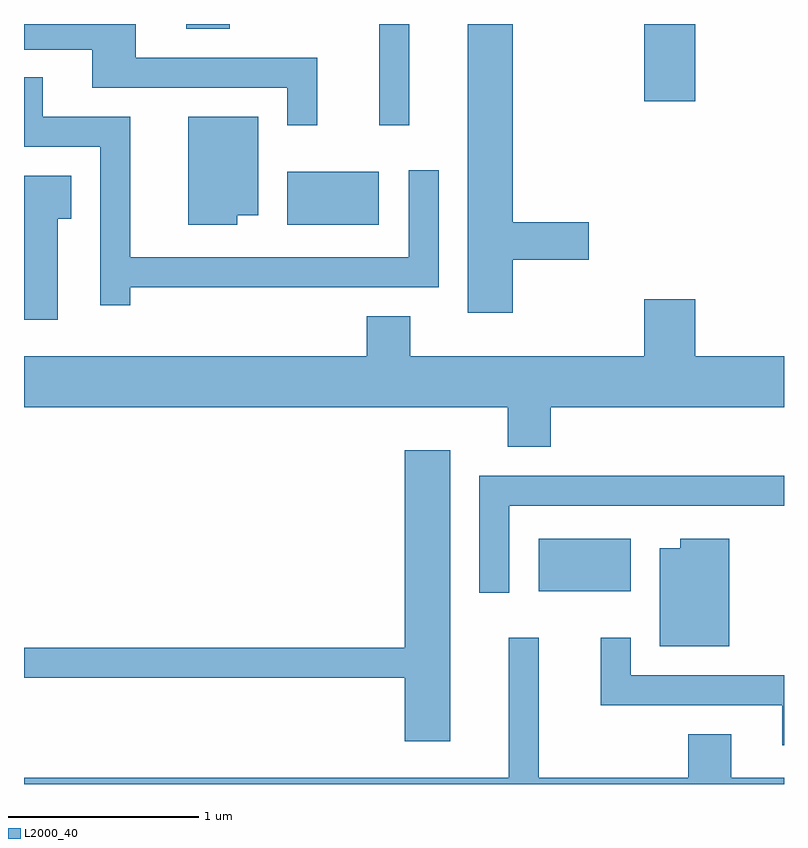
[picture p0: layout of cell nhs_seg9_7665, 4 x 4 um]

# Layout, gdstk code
import gdstk
lib = gdstk.Library(unit=1e-6, precision=1e-09)
def R(c, l, rs):  # rectangles x0, y0, x1, y1
    for r in rs: c.add(gdstk.rectangle(r[:2], r[2:], *l))
def P(c, l, *ps):  # polygons
    for p in ps: c.add(gdstk.Polygon(p, *l))
L2000_40 = (2000, 40)

nhs_seg9_7665 = lib.new_cell('nhs_seg9_7665')
R(nhs_seg9_7665, L2000_40, [(414.321,2057.446,414.804,2057.724), (412.996,2059.376,413.479,2059.654), (413.481,2059.898,413.639,2060.432), (414.876,2060.026,415.144,2060.432), (412.466,2060.406,412.694,2060.432)])
P(nhs_seg9_7665, L2000_40, [(413.154,2060.254),(412.199,2060.254),(412.199,2060.432),(411.611,2060.432),(411.611,2060.296),(411.971,2060.296),(411.971,2060.096),(412.996,2060.096),(412.996,2059.898),(413.154,2059.898)],
  [(414.184,2059.191),(414.584,2059.191),(414.584,2059.389),(414.184,2059.389),(414.184,2060.432),(413.946,2060.432),(413.946,2058.911),(414.184,2058.911)],
  [(412.169,2059.046),(413.794,2059.046),(413.794,2059.663),(413.636,2059.663),(413.636,2059.204),(412.169,2059.204),(412.169,2059.944),(411.709,2059.944),(411.709,2060.153),(411.611,2060.153),(411.611,2059.786),(412.011,2059.786),(412.011,2058.952),(412.169,2058.952)],
  [(412.734,2059.426),(412.844,2059.426),(412.844,2059.944),(412.476,2059.944),(412.476,2059.376),(412.734,2059.376)],
  [(411.789,2059.406),(411.859,2059.406),(411.859,2059.634),(411.611,2059.634),(411.611,2058.876),(411.789,2058.876)],
  [(414.384,2058.416),(415.611,2058.416),(415.611,2058.684),(415.144,2058.684),(415.144,2058.984),(414.876,2058.984),(414.876,2058.684),(413.644,2058.684),(413.644,2058.894),(413.416,2058.894),(413.416,2058.684),(411.611,2058.684),(411.611,2058.416),(414.156,2058.416),(414.156,2058.206),(414.384,2058.206)],
  [(413.854,2058.189),(413.616,2058.189),(413.616,2057.149),(411.611,2057.149),(411.611,2056.991),(413.616,2056.991),(413.616,2056.656),(413.854,2056.656)],
  [(414.164,2057.896),(415.611,2057.896),(415.611,2058.054),(414.006,2058.054),(414.006,2057.438),(414.164,2057.438)],
  [(415.324,2057.724),(415.066,2057.724),(415.066,2057.674),(414.956,2057.674),(414.956,2057.156),(415.324,2057.156)],
  [(414.161,2057.202),(414.161,2056.464),(411.611,2056.464),(411.611,2056.432),(415.611,2056.432),(415.611,2056.464),(415.334,2056.464),(415.334,2056.694),(415.106,2056.694),(415.106,2056.464),(414.319,2056.464),(414.319,2057.202)],
  [(415.611,2057.004),(414.804,2057.004),(414.804,2057.202),(414.646,2057.202),(414.646,2056.846),(415.601,2056.846),(415.601,2056.636),(415.611,2056.636)])

lib.write_gds('nhs_seg9_7665.gds')
